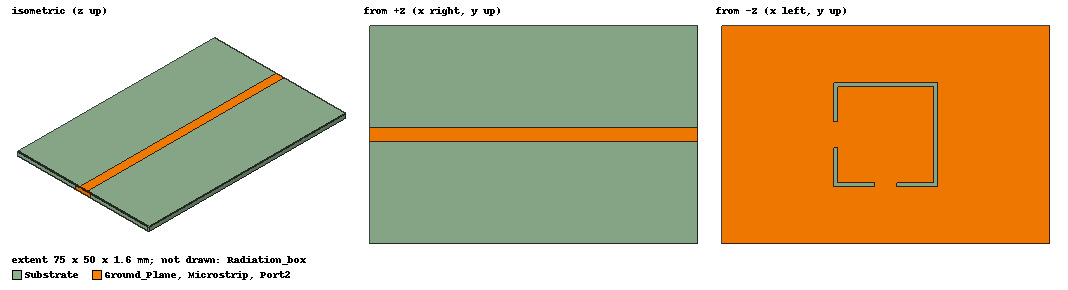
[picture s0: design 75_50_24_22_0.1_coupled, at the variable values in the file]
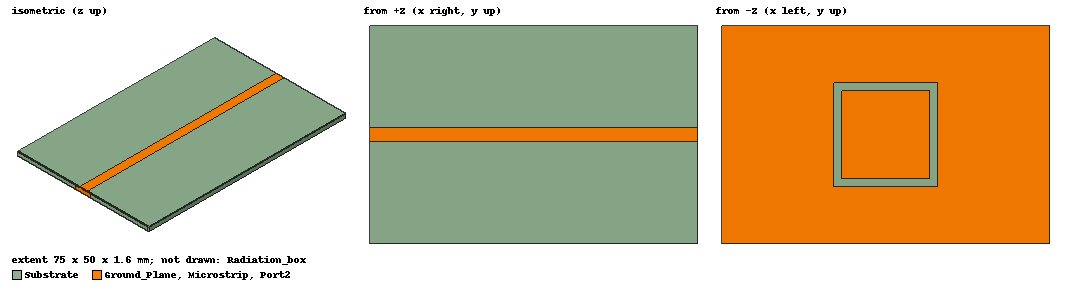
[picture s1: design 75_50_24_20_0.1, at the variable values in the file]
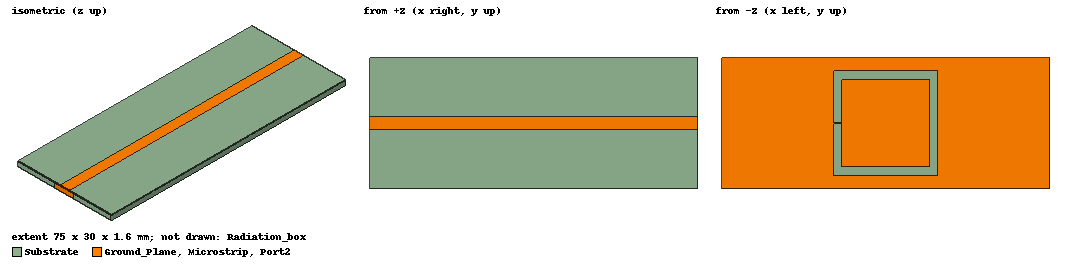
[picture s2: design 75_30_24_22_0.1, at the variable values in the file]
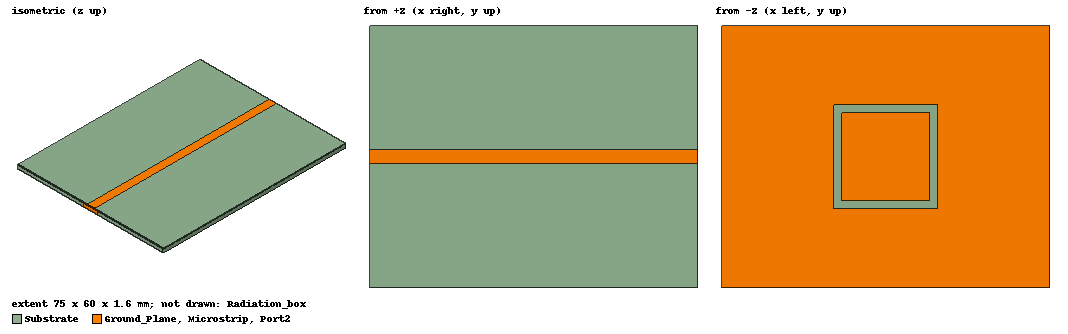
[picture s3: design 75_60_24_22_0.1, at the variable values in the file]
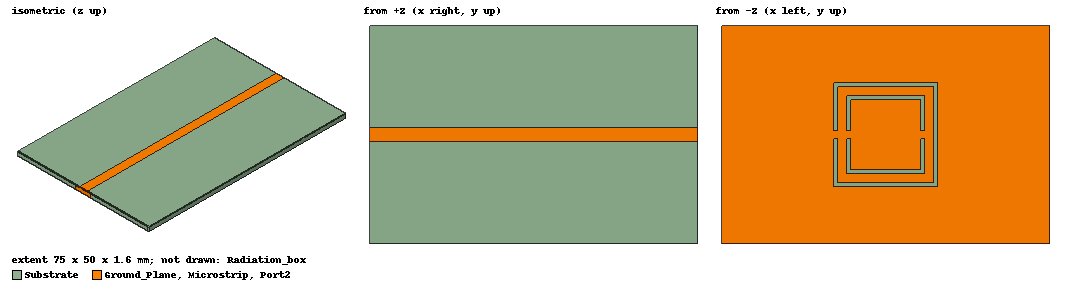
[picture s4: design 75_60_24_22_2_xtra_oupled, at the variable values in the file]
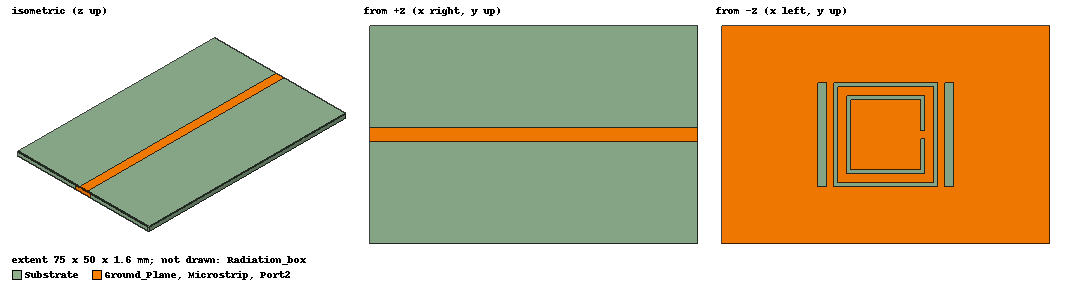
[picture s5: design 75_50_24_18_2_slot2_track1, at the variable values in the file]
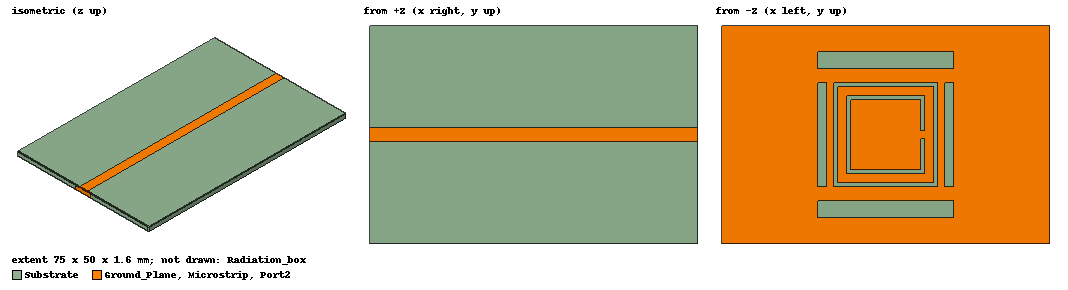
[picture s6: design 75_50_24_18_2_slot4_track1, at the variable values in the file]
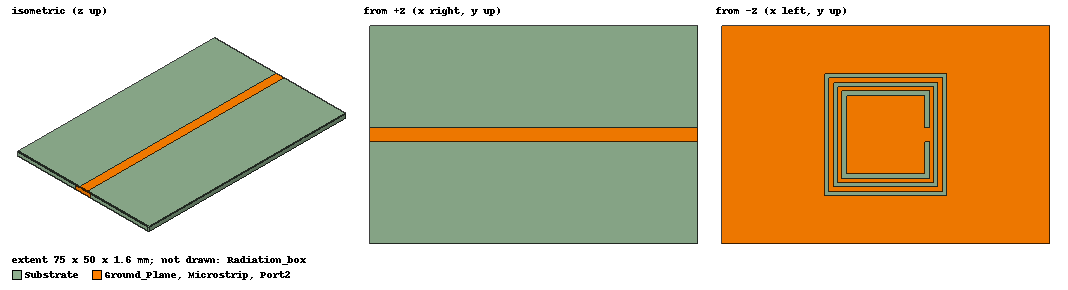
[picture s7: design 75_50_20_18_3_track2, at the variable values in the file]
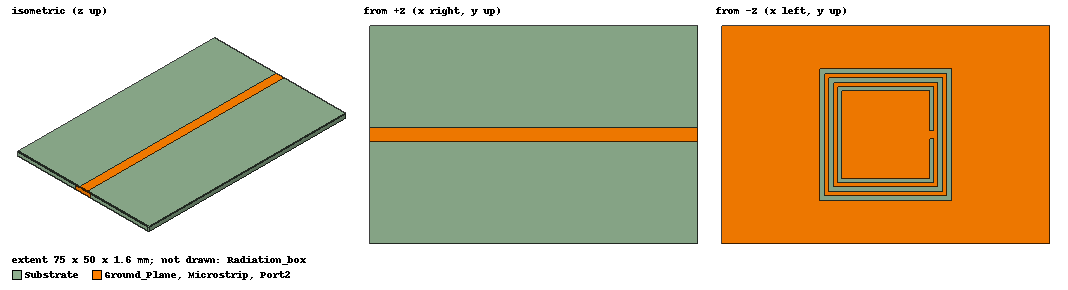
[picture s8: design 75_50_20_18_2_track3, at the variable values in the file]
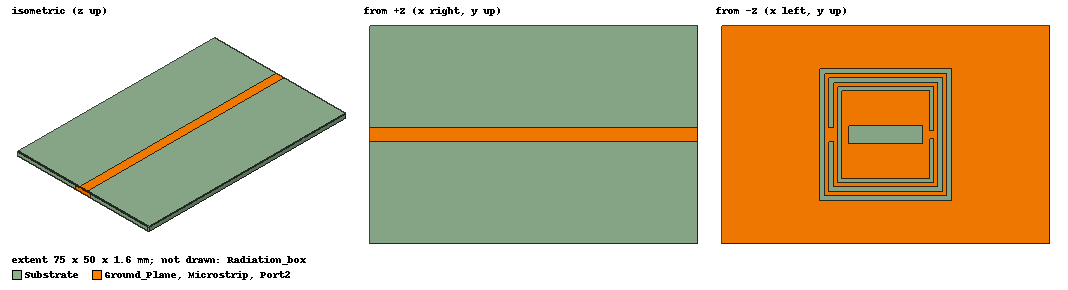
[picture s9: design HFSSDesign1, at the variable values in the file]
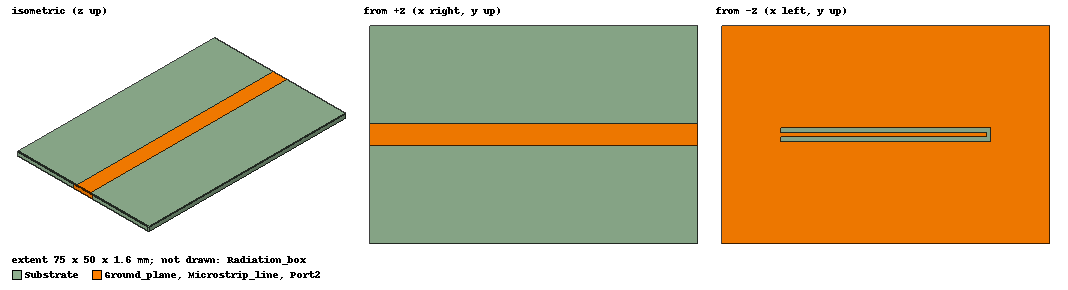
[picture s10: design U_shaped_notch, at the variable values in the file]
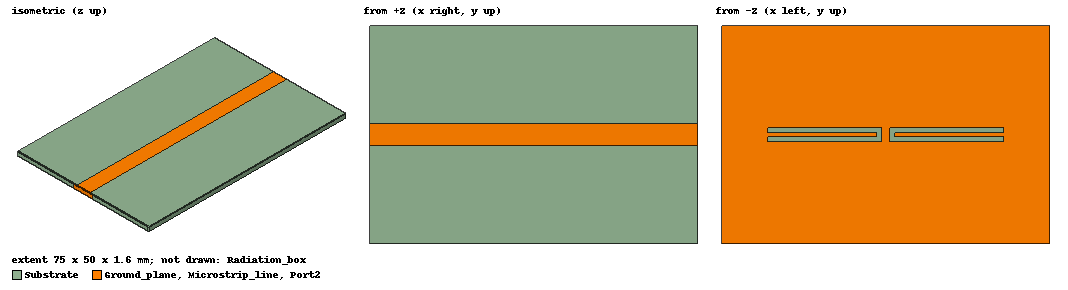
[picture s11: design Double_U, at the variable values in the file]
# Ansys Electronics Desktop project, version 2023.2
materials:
  vacuum: permittivity=1
  FR4_epoxy: permittivity=4.4 dielectric_loss_tangent=0.02
  air: permittivity=1.0006 permeability=1.0000004
  Arlon AR1000 (tm): permittivity=10 dielectric_loss_tangent=0.003
  copper: permeability=0.999991 conductivity=58000000

design 75_50_24_22_0.1_coupled (HFSS, HFSS Terminal Network, model units mm)
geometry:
  Substrate [FR4_epoxy] = box(corner=(0mm, 0mm, 0mm), size=(75mm, 50mm, 1.6mm))
  Ground_Plane = rectangle(corner=(0mm, 50mm, 0mm), x_size=75mm, y_size=-50mm)
  Microstrip = rectangle(corner=(0mm, 26.5mm, 1.6mm), x_size=75mm, y_size=-3mm)
  Port1 = rectangle(corner=(0mm, 28mm, 0mm), y_size=-6mm, z_size=1.6mm)
  Port2 = rectangle(corner=(75mm, 28mm, 1.6mm), y_size=-6mm, z_size=-1.6mm)
  Radiation_box [air] = box(corner=(-8mm, 58mm, -2mm), size=(92mm, -70mm, 20mm))
  Outer_sq = rectangle(corner=(25.5mm, 13mm, 0mm), x_size=24mm, y_size=24mm)
  Inner_sq_1 = rectangle(corner=(26.5mm, 14mm, 0mm), x_size=22mm, y_size=22mm)
  Ground_Plane.subtract(Outer_sq)
  Ground_Plane.unite(Inner_sq_1)
  Rectangle1 = rectangle(corner=(55mm, 22mm, 0mm), x_size=-20mm, y_size=6mm)
  Rectangle2 = rectangle(corner=(40mm, 10mm, 0mm), x_size=-5mm, y_size=10mm)
  Ground_Plane.unite(Rectangle1, Rectangle2)
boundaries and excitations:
  PerfE2: Perfect E Objects=Microstrip
  Rad1: Radiation Objects=Radiation_box
  PerfE3: Perfect E Objects=Ground_Plane
  1: Lumped Port Objects=Port1 LumpedPortType=Modal Modes{Mode1{IntLine{(0, 25, 0) -> (0, 25, 1.6)} CharImp=Zpi RenormImp=50ohm}} Impedance=50ohm
  2: Lumped Port Objects=Port2 LumpedPortType=Modal Modes{Mode1{IntLine{(75, 25, 0) -> (75, 25, 1.6)} CharImp=Zpi}} Impedance=50ohm
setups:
  Setup1: HfssDriven Frequency=1GHz MaxDeltaS=0.02 MaximumPasses=6 MinimumPasses=1 MinimumConvergedPasses=1 PercentRefinement=30 BasisOrder=1 PortAccuracy=2 DrivenSolverType="Direct Solver"
    sweep Sweep: 0.5GHz to 1.5GHz, 401 points; Type=Fast SaveFields
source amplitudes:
  1:1: 1V 0deg
  2:1: 0V 0deg
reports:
  S Parameter Plot 1: dB(S(1,1)), dB(S(2,1)), dB(S(1,2)), dB(S(2,2)) vs Freq on Setup1 : Sweep

design 75_50_24_20_0.1 (HFSS, HFSS Terminal Network, model units mm)
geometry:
  Substrate [FR4_epoxy] = box(corner=(0mm, 0mm, 0mm), size=(75mm, 50mm, 1.6mm))
  Ground_Plane = rectangle(corner=(0mm, 50mm, 0mm), x_size=75mm, y_size=-50mm)
  Outer_sq = rectangle(corner=(25.5mm, 13mm, 0mm), x_size=24mm, y_size=24mm)
  Ground_Plane.subtract(Outer_sq)
  Inner_sq_1 = rectangle(corner=(27.5mm, 15mm, 0mm), x_size=20mm, y_size=20mm)
  Ground_Plane.unite(Inner_sq_1)
  Rectangle1 = rectangle(corner=(55mm, 24.95mm, 0mm), x_size=-10mm, y_size=0.1mm)
  Ground_Plane.unite(Rectangle1)
  Microstrip = rectangle(corner=(0mm, 26.5mm, 1.6mm), x_size=75mm, y_size=-3mm)
  Port1 = rectangle(corner=(0mm, 28mm, 0mm), y_size=-6mm, z_size=1.6mm)
  Port2 = rectangle(corner=(75mm, 28mm, 1.6mm), y_size=-6mm, z_size=-1.6mm)
  Radiation_box [air] = box(corner=(-8mm, 58mm, -2mm), size=(92mm, -70mm, 20mm))
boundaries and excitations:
  PerfE2: Perfect E Objects=Microstrip
  Rad1: Radiation Objects=Radiation_box
  PerfE3: Perfect E Objects=Ground_Plane
  1: Lumped Port Objects=Port1 LumpedPortType=Modal Modes{Mode1{IntLine{(0, 25, 0) -> (0, 25, 1.6)} CharImp=Zpi RenormImp=50ohm}} Impedance=50ohm
  2: Lumped Port Objects=Port2 LumpedPortType=Modal Modes{Mode1{IntLine{(75, 25, 0) -> (75, 25, 1.6)} CharImp=Zpi}} Impedance=50ohm
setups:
  Setup1: HfssDriven Frequency=1GHz MaxDeltaS=0.02 MaximumPasses=6 MinimumPasses=1 MinimumConvergedPasses=1 PercentRefinement=30 BasisOrder=1 PortAccuracy=2 DrivenSolverType="Direct Solver"
    sweep Sweep: 0.5GHz to 1.5GHz, 401 points; Type=Fast SaveFields
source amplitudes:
  1:1: 1V 0deg
  2:1: 0V 0deg
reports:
  S Parameter Plot 1: dB(S(1,1)), dB(S(2,1)), dB(S(1,2)), dB(S(2,2)) vs Freq on Setup1 : Sweep

design 75_30_24_22_0.1 (HFSS, HFSS Terminal Network, model units mm)
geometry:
  Substrate [FR4_epoxy] = box(corner=(0mm, 10mm, 0mm), size=(75mm, 30mm, 1.6mm))
  Ground_Plane = rectangle(corner=(0mm, 40mm, 0mm), x_size=75mm, y_size=-30mm)
  Outer_sq = rectangle(corner=(25.5mm, 13mm, 0mm), x_size=24mm, y_size=24mm)
  Ground_Plane.subtract(Outer_sq)
  Inner_sq_1 = rectangle(corner=(27.5mm, 15mm, 0mm), x_size=20mm, y_size=20mm)
  Ground_Plane.unite(Inner_sq_1)
  Rectangle1 = rectangle(corner=(55mm, 24.95mm, 0mm), x_size=-10mm, y_size=0.1mm)
  Ground_Plane.unite(Rectangle1)
  Microstrip = rectangle(corner=(0mm, 26.5mm, 1.6mm), x_size=75mm, y_size=-3mm)
  Port1 = rectangle(corner=(0mm, 28mm, 0mm), y_size=-6mm, z_size=1.6mm)
  Port2 = rectangle(corner=(75mm, 28mm, 1.6mm), y_size=-6mm, z_size=-1.6mm)
  Radiation_box [air] = box(corner=(-8mm, 58mm, -2mm), size=(92mm, -70mm, 20mm))
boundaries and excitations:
  PerfE2: Perfect E Objects=Microstrip
  Rad1: Radiation Objects=Radiation_box
  PerfE3: Perfect E Objects=Ground_Plane
  1: Lumped Port Objects=Port1 LumpedPortType=Modal Modes{Mode1{IntLine{(0, 25, 0) -> (0, 25, 1.6)} CharImp=Zpi RenormImp=50ohm}} Impedance=50ohm
  2: Lumped Port Objects=Port2 LumpedPortType=Modal Modes{Mode1{IntLine{(75, 25, 0) -> (75, 25, 1.6)} CharImp=Zpi}} Impedance=50ohm
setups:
  Setup1: HfssDriven Frequency=1GHz MaxDeltaS=0.02 MaximumPasses=6 MinimumPasses=1 MinimumConvergedPasses=1 PercentRefinement=30 BasisOrder=1 PortAccuracy=2 DrivenSolverType="Direct Solver"
    sweep Sweep: 0.5GHz to 1.5GHz, 401 points; Type=Fast SaveFields
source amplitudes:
  1:1: 1V 0deg
  2:1: 0V 0deg
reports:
  S Parameter Plot 1: dB(S(1,1)), dB(S(2,1)), dB(S(1,2)), dB(S(2,2)) vs Freq on Setup1 : Sweep

design 75_60_24_22_0.1 (HFSS, HFSS Terminal Network, model units mm)
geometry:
  Substrate [FR4_epoxy] = box(corner=(0mm, -5mm, 0mm), size=(75mm, 60mm, 1.6mm))
  Ground_Plane = rectangle(corner=(0mm, 55mm, 0mm), x_size=75mm, y_size=-60mm)
  Outer_sq = rectangle(corner=(25.5mm, 13mm, 0mm), x_size=24mm, y_size=24mm)
  Ground_Plane.subtract(Outer_sq)
  Inner_sq_1 = rectangle(corner=(27.5mm, 15mm, 0mm), x_size=20mm, y_size=20mm)
  Ground_Plane.unite(Inner_sq_1)
  Rectangle1 = rectangle(corner=(55mm, 24.95mm, 0mm), x_size=-10mm, y_size=0.1mm)
  Ground_Plane.unite(Rectangle1)
  Microstrip = rectangle(corner=(0mm, 26.5mm, 1.6mm), x_size=75mm, y_size=-3mm)
  Port1 = rectangle(corner=(0mm, 28mm, 0mm), y_size=-6mm, z_size=1.6mm)
  Port2 = rectangle(corner=(75mm, 28mm, 1.6mm), y_size=-6mm, z_size=-1.6mm)
  Radiation_box [air] = box(corner=(-8mm, 58mm, -2mm), size=(92mm, -70mm, 20mm))
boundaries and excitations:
  PerfE2: Perfect E Objects=Microstrip
  Rad1: Radiation Objects=Radiation_box
  PerfE3: Perfect E Objects=Ground_Plane
  1: Lumped Port Objects=Port1 LumpedPortType=Modal Modes{Mode1{IntLine{(0, 25, 0) -> (0, 25, 1.6)} CharImp=Zpi RenormImp=50ohm}} Impedance=50ohm
  2: Lumped Port Objects=Port2 LumpedPortType=Modal Modes{Mode1{IntLine{(75, 25, 0) -> (75, 25, 1.6)} CharImp=Zpi}} Impedance=50ohm
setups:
  Setup1: HfssDriven Frequency=1GHz MaxDeltaS=0.02 MaximumPasses=6 MinimumPasses=1 MinimumConvergedPasses=1 PercentRefinement=30 BasisOrder=1 PortAccuracy=2 DrivenSolverType="Direct Solver"
    sweep Sweep: 0.5GHz to 1.5GHz, 401 points; Type=Fast SaveFields
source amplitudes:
  1:1: 1V 0deg
  2:1: 0V 0deg
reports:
  S Parameter Plot 1: dB(S(1,1)), dB(S(2,1)), dB(S(1,2)), dB(S(2,2)) vs Freq on Setup1 : Sweep

design 75_60_24_22_2_xtra_oupled (HFSS, HFSS Terminal Network, model units mm)
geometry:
  Substrate [FR4_epoxy] = box(corner=(0mm, 0mm, 0mm), size=(75mm, 50mm, 1.6mm))
  Ground_Plane = rectangle(corner=(0mm, 50mm, 0mm), x_size=75mm, y_size=-50mm)
  Outer_sq = rectangle(corner=(25.5mm, 13mm, 0mm), x_size=24mm, y_size=24mm)
  Ground_Plane.subtract(Outer_sq)
  Inner_sq_1 = rectangle(corner=(26.5mm, 14mm, 0mm), x_size=22mm, y_size=22mm)
  Ground_Plane.unite(Inner_sq_1)
  Microstrip = rectangle(corner=(0mm, 26.5mm, 1.6mm), x_size=75mm, y_size=-3mm)
  Port1 = rectangle(corner=(0mm, 28mm, 0mm), y_size=-6mm, z_size=1.6mm)
  Port2 = rectangle(corner=(75mm, 28mm, 1.6mm), y_size=-6mm, z_size=-1.6mm)
  Radiation_box [air] = box(corner=(-8mm, 58mm, -2mm), size=(92mm, -70mm, 20mm))
  Rectangle1 = rectangle(corner=(55mm, 24mm, 0mm), x_size=-28mm, y_size=2mm)
  Outer_sq_2 = rectangle(corner=(28.5mm, 16mm, 0mm), x_size=18mm, y_size=18mm)
  Ground_Plane.subtract(Outer_sq_2)
  Inner_sq_2 = rectangle(corner=(29.5mm, 17mm, 0mm), x_size=16mm, y_size=16mm)
  Ground_Plane.unite(Inner_sq_2, Rectangle1)
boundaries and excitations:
  PerfE2: Perfect E Objects=Microstrip
  Rad1: Radiation Objects=Radiation_box
  PerfE3: Perfect E Objects=Ground_Plane
  1: Lumped Port Objects=Port1 LumpedPortType=Modal Modes{Mode1{IntLine{(0, 25, 0) -> (0, 25, 1.6)} CharImp=Zpi RenormImp=50ohm}} Impedance=50ohm
  2: Lumped Port Objects=Port2 LumpedPortType=Modal Modes{Mode1{IntLine{(75, 25, 0) -> (75, 25, 1.6)} CharImp=Zpi}} Impedance=50ohm
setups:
  Setup1: HfssDriven Frequency=1GHz MaxDeltaS=0.02 MaximumPasses=6 MinimumPasses=1 MinimumConvergedPasses=1 PercentRefinement=30 BasisOrder=1 PortAccuracy=2 DrivenSolverType="Direct Solver"
    sweep Sweep: 0.5GHz to 1.5GHz, 401 points; Type=Fast SaveFields
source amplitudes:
  1:1: 1V 0deg
  2:1: 0V 0deg
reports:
  S Parameter Plot 1: dB(S(1,1)), dB(S(2,1)), dB(S(1,2)), dB(S(2,2)) vs Freq on Setup1 : Sweep

design 75_50_24_18_2_slot2_track1 (HFSS, HFSS Terminal Network, model units mm)
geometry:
  Substrate [FR4_epoxy] = box(corner=(0mm, 0mm, 0mm), size=(75mm, 50mm, 1.6mm))
  Ground_Plane = rectangle(corner=(0mm, 50mm, 0mm), x_size=75mm, y_size=-50mm)
  Outer_sq = rectangle(corner=(25.5mm, 13mm, 0mm), x_size=24mm, y_size=24mm)
  Ground_Plane.subtract(Outer_sq)
  Inner_sq_1 = rectangle(corner=(26.5mm, 14mm, 0mm), x_size=22mm, y_size=22mm)
  Ground_Plane.unite(Inner_sq_1)
  Outer_sq_2 = rectangle(corner=(28.5mm, 16mm, 0mm), x_size=18mm, y_size=18mm)
  Ground_Plane.subtract(Outer_sq_2)
  Microstrip = rectangle(corner=(0mm, 26.5mm, 1.6mm), x_size=75mm, y_size=-3mm)
  Port1 = rectangle(corner=(0mm, 28mm, 0mm), y_size=-6mm, z_size=1.6mm)
  Port2 = rectangle(corner=(75mm, 28mm, 1.6mm), y_size=-6mm, z_size=-1.6mm)
  Radiation_box [air] = box(corner=(-8mm, 58mm, -2mm), size=(92mm, -70mm, 20mm))
  Inner_sq_2 = rectangle(corner=(29.5mm, 17mm, 0mm), x_size=16mm, y_size=16mm)
  Rectangle1 = rectangle(corner=(38mm, 26mm, 0mm), x_size=5mm, y_size=-2mm)
  Rectangle2 = rectangle(corner=(38mm, 24mm, 0mm), x_size=-10mm, y_size=2mm)
  Ground_Plane.unite(Inner_sq_2, Rectangle1, Rectangle2)
  Rectangle3 = rectangle(corner=(51mm, 13mm, 0mm), x_size=2mm, y_size=24mm)
  Rectangle4 = rectangle(corner=(24mm, 13mm, 0mm), x_size=-2mm, y_size=24mm)
  Ground_Plane.subtract(Rectangle3, Rectangle4)
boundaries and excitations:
  PerfE2: Perfect E Objects=Microstrip
  Rad1: Radiation Objects=Radiation_box
  PerfE3: Perfect E Objects=Ground_Plane
  1: Lumped Port Objects=Port1 LumpedPortType=Modal Modes{Mode1{IntLine{(0, 25, 0) -> (0, 25, 1.6)} CharImp=Zpi RenormImp=50ohm}} Impedance=50ohm
  2: Lumped Port Objects=Port2 LumpedPortType=Modal Modes{Mode1{IntLine{(75, 25, 0) -> (75, 25, 1.6)} CharImp=Zpi}} Impedance=50ohm
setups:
  Setup1: HfssDriven Frequency=1GHz MaxDeltaS=0.02 MaximumPasses=6 MinimumPasses=1 MinimumConvergedPasses=1 PercentRefinement=30 BasisOrder=1 PortAccuracy=2 DrivenSolverType="Direct Solver"
    sweep Sweep: 0.5GHz to 1.5GHz, 401 points; Type=Fast SaveFields
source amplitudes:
  1:1: 1V 0deg
  2:1: 0V 0deg
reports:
  S Parameter Plot 1: dB(S(1,1)), dB(S(2,1)), dB(S(1,2)), dB(S(2,2)) vs Freq on Setup1 : Sweep

design 75_50_24_18_2_slot4_track1 (HFSS, HFSS Terminal Network, model units mm)
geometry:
  Substrate [FR4_epoxy] = box(corner=(0mm, 0mm, 0mm), size=(75mm, 50mm, 1.6mm))
  Ground_Plane = rectangle(corner=(0mm, 50mm, 0mm), x_size=75mm, y_size=-50mm)
  Outer_sq = rectangle(corner=(25.5mm, 13mm, 0mm), x_size=24mm, y_size=24mm)
  Ground_Plane.subtract(Outer_sq)
  Inner_sq_1 = rectangle(corner=(26.5mm, 14mm, 0mm), x_size=22mm, y_size=22mm)
  Ground_Plane.unite(Inner_sq_1)
  Outer_sq_2 = rectangle(corner=(28.5mm, 16mm, 0mm), x_size=18mm, y_size=18mm)
  Ground_Plane.subtract(Outer_sq_2)
  Inner_sq_2 = rectangle(corner=(29.5mm, 17mm, 0mm), x_size=16mm, y_size=16mm)
  Rectangle1 = rectangle(corner=(38mm, 26mm, 0mm), x_size=5mm, y_size=-2mm)
  Rectangle2 = rectangle(corner=(38mm, 24mm, 0mm), x_size=-10mm, y_size=2mm)
  Ground_Plane.unite(Inner_sq_2, Rectangle1, Rectangle2)
  Rectangle3 = rectangle(corner=(51mm, 13mm, 0mm), x_size=2mm, y_size=24mm)
  Rectangle4 = rectangle(corner=(24mm, 13mm, 0mm), x_size=-2mm, y_size=24mm)
  Ground_Plane.subtract(Rectangle3, Rectangle4)
  Microstrip = rectangle(corner=(0mm, 26.5mm, 1.6mm), x_size=75mm, y_size=-3mm)
  Port1 = rectangle(corner=(0mm, 28mm, 0mm), y_size=-6mm, z_size=1.6mm)
  Port2 = rectangle(corner=(75mm, 28mm, 1.6mm), y_size=-6mm, z_size=-1.6mm)
  Radiation_box [air] = box(corner=(-8mm, 58mm, -2mm), size=(92mm, -70mm, 20mm))
  Rectangle5 = rectangle(corner=(22mm, 40mm, 0mm), x_size=31mm, y_size=4mm)
  Rectangle6 = rectangle(corner=(22mm, 10mm, 0mm), x_size=31mm, y_size=-4mm)
  Ground_Plane.subtract(Rectangle5, Rectangle6)
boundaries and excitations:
  PerfE2: Perfect E Objects=Microstrip
  Rad1: Radiation Objects=Radiation_box
  PerfE3: Perfect E Objects=Ground_Plane
  1: Lumped Port Objects=Port1 LumpedPortType=Modal Modes{Mode1{IntLine{(0, 25, 0) -> (0, 25, 1.6)} CharImp=Zpi RenormImp=50ohm}} Impedance=50ohm
  2: Lumped Port Objects=Port2 LumpedPortType=Modal Modes{Mode1{IntLine{(75, 25, 0) -> (75, 25, 1.6)} CharImp=Zpi}} Impedance=50ohm
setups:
  Setup1: HfssDriven Frequency=1GHz MaxDeltaS=0.02 MaximumPasses=6 MinimumPasses=1 MinimumConvergedPasses=1 PercentRefinement=30 BasisOrder=1 PortAccuracy=2 DrivenSolverType="Direct Solver"
    sweep Sweep: 0.5GHz to 1.5GHz, 401 points; Type=Fast SaveFields
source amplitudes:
  1:1: 1V 0deg
  2:1: 0V 0deg
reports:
  S Parameter Plot 1: dB(S(1,1)), dB(S(2,1)), dB(S(1,2)), dB(S(2,2)) vs Freq on Setup1 : Sweep

design 75_50_20_18_3_track2 (HFSS, HFSS Terminal Network, model units mm)
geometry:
  Substrate [FR4_epoxy] = box(corner=(0mm, 0mm, 0mm), size=(75mm, 50mm, 1.6mm))
  Ground_Plane = rectangle(corner=(0mm, 50mm, 0mm), x_size=75mm, y_size=-50mm)
  Microstrip = rectangle(corner=(0mm, 26.5mm, 1.6mm), x_size=75mm, y_size=-3mm)
  Port1 = rectangle(corner=(0mm, 28mm, 0mm), y_size=-6mm, z_size=1.6mm)
  Port2 = rectangle(corner=(75mm, 28mm, 1.6mm), y_size=-6mm, z_size=-1.6mm)
  Radiation_box [air] = box(corner=(-8mm, 58mm, -2mm), size=(92mm, -70mm, 20mm))
  Outer_sq = rectangle(corner=(25.5mm, 13mm, 0mm), x_size=24mm, y_size=24mm)
  Outer_sq_2 = rectangle(corner=(27.5mm, 15mm, 0mm), x_size=20mm, y_size=20mm)
  Inner_sq_2 = rectangle(corner=(28.5mm, 16mm, 0mm), x_size=18mm, y_size=18mm)
  Outer_sq_3 = rectangle(corner=(23.5mm, 11mm, 0mm), x_size=28mm, y_size=28mm)
  Inner_sq_3 = rectangle(corner=(26.5mm, 14mm, 0mm), x_size=22mm, y_size=22mm)
  Ground_Plane.subtract(Outer_sq_3)
  Inner_sq_4 = rectangle(corner=(24.5mm, 12mm, 0mm), x_size=26mm, y_size=26mm)
  Inner_sq_4.subtract(Outer_sq)
  Inner_sq_3.subtract(Outer_sq_2)
  Bridge = rectangle(corner=(28.5mm, 23.5mm, 0mm), x_size=-1mm, y_size=3mm)
  Ground_Plane.unite(Inner_sq_4, Inner_sq_3, Inner_sq_2, Bridge)
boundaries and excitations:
  PerfE2: Perfect E Objects=Microstrip
  Rad1: Radiation Objects=Radiation_box
  PerfE3: Perfect E Objects=Ground_Plane
  1: Lumped Port Objects=Port1 LumpedPortType=Modal Modes{Mode1{IntLine{(0, 25, 0) -> (0, 25, 1.6)} CharImp=Zpi RenormImp=50ohm}} Impedance=50ohm
  2: Lumped Port Objects=Port2 LumpedPortType=Modal Modes{Mode1{IntLine{(75, 25, 0) -> (75, 25, 1.6)} CharImp=Zpi}} Impedance=50ohm
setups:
  Setup1: HfssDriven Frequency=1GHz MaxDeltaS=0.02 MaximumPasses=6 MinimumPasses=1 MinimumConvergedPasses=1 PercentRefinement=30 BasisOrder=1 PortAccuracy=2 DrivenSolverType="Direct Solver"
    sweep Sweep: 0.5GHz to 1.5GHz, 401 points; Type=Fast SaveFields
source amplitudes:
  1:1: 1V 0deg
  2:1: 0V 0deg
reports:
  S Parameter Plot 1: dB(S(1,1)), dB(S(2,1)), dB(S(1,2)), dB(S(2,2)) vs Freq on Setup1 : Sweep

design 75_50_20_18_2_track3 (HFSS, HFSS Terminal Network, model units mm)
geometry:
  Substrate [FR4_epoxy] = box(corner=(0mm, 0mm, 0mm), size=(75mm, 50mm, 1.6mm))
  Ground_Plane = rectangle(corner=(0mm, 50mm, 0mm), x_size=75mm, y_size=-50mm)
  Outer_sq_3 = rectangle(corner=(22.5mm, 10mm, 0mm), x_size=30mm, y_size=30mm)
  Ground_Plane.subtract(Outer_sq_3)
  Microstrip = rectangle(corner=(0mm, 26.5mm, 1.6mm), x_size=75mm, y_size=-3mm)
  Port1 = rectangle(corner=(0mm, 28mm, 0mm), y_size=-6mm, z_size=1.6mm)
  Port2 = rectangle(corner=(75mm, 28mm, 1.6mm), y_size=-6mm, z_size=-1.6mm)
  Radiation_box [air] = box(corner=(-8mm, 58mm, -2mm), size=(92mm, -70mm, 20mm))
  Outer_sq = rectangle(corner=(24.5mm, 12mm, 0mm), x_size=26mm, y_size=26mm)
  Outer_sq_2 = rectangle(corner=(26.5mm, 14mm, 0mm), x_size=22mm, y_size=22mm)
  Inner_sq_2 = rectangle(corner=(27.5mm, 15mm, 0mm), x_size=20mm, y_size=20mm)
  Inner_sq_3 = rectangle(corner=(25.5mm, 13mm, 0mm), x_size=24mm, y_size=24mm)
  Inner_sq_3.subtract(Outer_sq_2)
  Inner_sq_4 = rectangle(corner=(23.5mm, 11mm, 0mm), x_size=28mm, y_size=28mm)
  Inner_sq_4.subtract(Outer_sq)
  Bridge = rectangle(corner=(27.5mm, 24mm, 0mm), x_size=-1mm, y_size=2mm)
  Ground_Plane.unite(Bridge, Inner_sq_2, Inner_sq_3, Inner_sq_4)
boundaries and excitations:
  PerfE2: Perfect E Objects=Microstrip
  Rad1: Radiation Objects=Radiation_box
  PerfE3: Perfect E Objects=Ground_Plane
  1: Lumped Port Objects=Port1 LumpedPortType=Modal Modes{Mode1{IntLine{(0, 25, 0) -> (0, 25, 1.6)} CharImp=Zpi RenormImp=50ohm}} Impedance=50ohm
  2: Lumped Port Objects=Port2 LumpedPortType=Modal Modes{Mode1{IntLine{(75, 25, 0) -> (75, 25, 1.6)} CharImp=Zpi}} Impedance=50ohm
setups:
  Setup1: HfssDriven Frequency=1GHz MaxDeltaS=0.02 MaximumPasses=6 MinimumPasses=1 MinimumConvergedPasses=1 PercentRefinement=30 BasisOrder=1 PortAccuracy=2 DrivenSolverType="Direct Solver"
    sweep Sweep: 0.5GHz to 1.5GHz, 401 points; Type=Fast SaveFields
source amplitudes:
  1:1: 1V 0deg
  2:1: 0V 0deg
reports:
  S Parameter Plot 1: dB(S(1,1)), dB(S(2,1)), dB(S(1,2)), dB(S(2,2)) vs Freq on Setup1 : Sweep

design HFSSDesign1 (HFSS, HFSS Terminal Network, model units mm)
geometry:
  Substrate [FR4_epoxy] = box(corner=(0mm, 0mm, 0mm), size=(75mm, 50mm, 1.6mm))
  Ground_Plane = rectangle(corner=(0mm, 50mm, 0mm), x_size=75mm, y_size=-50mm)
  Outer_sq_3 = rectangle(corner=(22.5mm, 10mm, 0mm), x_size=30mm, y_size=30mm)
  Ground_Plane.subtract(Outer_sq_3)
  Bridge = rectangle(corner=(27.5mm, 24mm, 0mm), x_size=-1mm, y_size=2mm)
  Inner_sq_2 = rectangle(corner=(27.5mm, 15mm, 0mm), x_size=20mm, y_size=20mm)
  Inner_sq_3 = rectangle(corner=(25.5mm, 13mm, 0mm), x_size=24mm, y_size=24mm)
  Outer_sq_2 = rectangle(corner=(26.5mm, 14mm, 0mm), x_size=22mm, y_size=22mm)
  Inner_sq_3.subtract(Outer_sq_2)
  Inner_sq_4 = rectangle(corner=(23.5mm, 11mm, 0mm), x_size=28mm, y_size=28mm)
  Outer_sq = rectangle(corner=(24.5mm, 12mm, 0mm), x_size=26mm, y_size=26mm)
  Inner_sq_4.subtract(Outer_sq)
  Ground_Plane.unite(Bridge, Inner_sq_2, Inner_sq_3, Inner_sq_4)
  Microstrip = rectangle(corner=(0mm, 26.5mm, 1.6mm), x_size=75mm, y_size=-3mm)
  Port1 = rectangle(corner=(0mm, 28mm, 0mm), y_size=-6mm, z_size=1.6mm)
  Port2 = rectangle(corner=(75mm, 28mm, 1.6mm), y_size=-6mm, z_size=-1.6mm)
  Radiation_box [air] = box(corner=(-8mm, 58mm, -2mm), size=(92mm, -70mm, 20mm))
  Rectangle1 = rectangle(corner=(49.5mm, 23.5mm, 0mm), x_size=1mm, y_size=3mm)
  Ground_Plane.unite(Rectangle1)
  Rectangle2 = rectangle(corner=(46mm, 23mm, 0mm), x_size=-17mm, y_size=4mm)
  Ground_Plane.subtract(Rectangle2)
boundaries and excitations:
  PerfE2: Perfect E Objects=Microstrip
  Rad1: Radiation Objects=Radiation_box
  PerfE3: Perfect E Objects=Ground_Plane
  1: Lumped Port Objects=Port1 LumpedPortType=Modal Modes{Mode1{IntLine{(0, 25, 0) -> (0, 25, 1.6)} CharImp=Zpi RenormImp=50ohm}} Impedance=50ohm
  2: Lumped Port Objects=Port2 LumpedPortType=Modal Modes{Mode1{IntLine{(75, 25, 0) -> (75, 25, 1.6)} CharImp=Zpi}} Impedance=50ohm
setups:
  Setup1: HfssDriven Frequency=1GHz MaxDeltaS=0.02 MaximumPasses=6 MinimumPasses=1 MinimumConvergedPasses=1 PercentRefinement=30 BasisOrder=1 PortAccuracy=2 DrivenSolverType="Direct Solver"
    sweep Sweep: 0.5GHz to 1.5GHz, 401 points; Type=Fast SaveFields
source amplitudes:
  1:1: 1V 0deg
  2:1: 0V 0deg
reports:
  S Parameter Plot 1: dB(S(1,1)), dB(S(2,1)), dB(S(1,2)), dB(S(2,2)) vs Freq on Setup1 : Sweep

design U_shaped_notch (HFSS, HFSS Terminal Network, model units mm)
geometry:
  Substrate [FR4_epoxy] = box(corner=(0mm, 0mm, 0mm), size=(75mm, 50mm, 1.6mm))
  Microstrip_line = rectangle(corner=(0mm, 22.4mm, 1.6mm), x_size=75mm, y_size=5.2mm)
  Etch = rectangle(corner=(13.5mm, 23.5mm, 0mm), x_size=48mm, y_size=1mm)
  Rectangle2 = rectangle(corner=(13.5mm, 25.5mm, 0mm), x_size=48mm, y_size=1mm)
  Rectangle3 = rectangle(corner=(13.5mm, 23.5mm, 0mm), x_size=1mm, y_size=3mm)
  Etch.unite(Rectangle2, Rectangle3)
  Ground_plane = rectangle(corner=(0mm, 50mm, 0mm), x_size=75mm, y_size=-50mm)
  Ground_plane.subtract(Etch)
  Port1 = rectangle(corner=(0mm, 21.5mm, 1.6mm), y_size=7mm, z_size=-1.6mm)
  Port2 = rectangle(corner=(75mm, 21.5mm, 1.6mm), y_size=7mm, z_size=-1.6mm)
  Radiation_box [air] = box(corner=(80mm, 60mm, -2mm), size=(-88mm, -68mm, 10mm))
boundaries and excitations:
  PerfE1: Perfect E Objects=Microstrip_line
  PerfE2: Perfect E Objects=Ground_plane
  Rad1: Radiation Objects=Radiation_box
  1: Lumped Port Objects=Port1 LumpedPortType=Modal Modes{Mode1{IntLine{(0, 25, 0) -> (0, 25, 1.6)} CharImp=Zpi RenormImp=50ohm}} Impedance=50ohm
  2: Lumped Port Objects=Port2 LumpedPortType=Modal Modes{Mode1{IntLine{(75, 25, 0) -> (75, 25, 1.6)} CharImp=Zpi RenormImp=50ohm}} Impedance=50ohm
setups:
  Setup1: HfssDriven Frequency=1GHz MaxDeltaS=0.02 MaximumPasses=6 MinimumPasses=1 MinimumConvergedPasses=1 PercentRefinement=30 BasisOrder=1 PortAccuracy=2 DrivenSolverType="Direct Solver"
    sweep Sweep: 0.1GHz to 2.5GHz, 801 points; Type=Fast SaveFields
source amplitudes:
  1:1: 1V 0deg
  2:1: 0V 0deg
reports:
  S Parameter Plot 1: dB(S(1,1)), dB(S(2,1)), dB(S(1,2)), dB(S(2,2)) vs Freq on Setup1 : Sweep

design Double_U (HFSS, HFSS Terminal Network, model units mm)
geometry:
  Substrate [FR4_epoxy] = box(corner=(0mm, 0mm, 0mm), size=(75mm, 50mm, 1.6mm))
  Microstrip_line = rectangle(corner=(0mm, 22.5mm, 1.6mm), x_size=75mm, y_size=5mm)
  Ground_plane = rectangle(corner=(0mm, 50mm, 0mm), x_size=75mm, y_size=-50mm)
  Port1 = rectangle(corner=(0mm, 21.5mm, 1.6mm), y_size=7mm, z_size=-1.6mm)
  Port2 = rectangle(corner=(75mm, 21.5mm, 1.6mm), y_size=7mm, z_size=-1.6mm)
  Radiation_box [air] = box(corner=(80mm, 60mm, -2mm), size=(-88mm, -68mm, 10mm))
  Rectangle1 = rectangle(corner=(36.5mm, 23.5mm, 0mm), x_size=-26mm, y_size=1mm)
  Rectangle2 = rectangle(corner=(36.5mm, 25.5mm, 0mm), x_size=-26mm, y_size=1mm)
  Rectangle3 = rectangle(corner=(38.5mm, 23.5mm, 0mm), x_size=26mm, y_size=1mm)
  Rectangle4 = rectangle(corner=(38.5mm, 25.5mm, 0mm), x_size=26mm, y_size=1mm)
  Rectangle5 = rectangle(corner=(38.5mm, 23.5mm, 0mm), x_size=1mm, y_size=3mm)
  Rectangle6 = rectangle(corner=(36.5mm, 23.5mm, 0mm), x_size=-1mm, y_size=3mm)
  Ground_plane.subtract(Rectangle1..Rectangle6)
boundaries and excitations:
  PerfE1: Perfect E Objects=Microstrip_line
  PerfE2: Perfect E Objects=Ground_plane
  Rad1: Radiation Objects=Radiation_box
  1: Lumped Port Objects=Port1 LumpedPortType=Modal Modes{Mode1{IntLine{(0, 25, 0) -> (0, 25, 1.6)} CharImp=Zpi RenormImp=50ohm}} Impedance=50ohm
  2: Lumped Port Objects=Port2 LumpedPortType=Modal Modes{Mode1{IntLine{(75, 25, 0) -> (75, 25, 1.6)} CharImp=Zpi RenormImp=50ohm}} Impedance=50ohm
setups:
  Setup1: HfssDriven Frequency=1GHz MaxDeltaS=0.02 MaximumPasses=6 MinimumPasses=1 MinimumConvergedPasses=1 PercentRefinement=30 BasisOrder=1 PortAccuracy=2 DrivenSolverType="Direct Solver"
    sweep Sweep: 0.5GHz to 3.5GHz, 801 points; Type=Fast SaveFields
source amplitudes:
  1:1: 1V 0deg
  2:1: 0V 0deg
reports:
  S Parameter Plot 1: dB(S(1,1)), dB(S(2,1)), dB(S(1,2)), dB(S(2,2)) vs Freq on Setup1 : Sweep

design H_design (HFSS, HFSS Terminal Network, model units mm)
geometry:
  Substrate [FR4_epoxy] = box(corner=(0mm, 0mm, 0mm), size=(75mm, 50mm, 1.6mm))
  Microstrip_line = rectangle(corner=(0mm, 22.5mm, 1.6mm), x_size=75mm, y_size=5mm)
  Ground_plane = rectangle(corner=(0mm, 50mm, 0mm), x_size=75mm, y_size=-50mm)
  Port1 = rectangle(corner=(0mm, 21.5mm, 1.6mm), y_size=7mm, z_size=-1.6mm)
  Port2 = rectangle(corner=(75mm, 21.5mm, 1.6mm), y_size=7mm, z_size=-1.6mm)
  Radiation_box [air] = box(corner=(80mm, 60mm, -2mm), size=(-88mm, -68mm, 10mm))
  Rectangle1 = rectangle(corner=(37.5mm, 23.5mm, 0mm), x_size=-26mm, y_size=1mm)
  Rectangle2 = rectangle(corner=(37.5mm, 25.5mm, 0mm), x_size=-26mm, y_size=1mm)
  Rectangle3 = rectangle(corner=(37.5mm, 23.5mm, 0mm), x_size=26mm, y_size=1mm)
  Rectangle4 = rectangle(corner=(37.5mm, 25.5mm, 0mm), x_size=26mm, y_size=1mm)
  Rectangle5 = rectangle(corner=(37.5mm, 23.5mm, 0mm), x_size=1mm, y_size=3mm)
  Rectangle1.unite(Rectangle2..Rectangle5)
  Ground_plane.subtract(Rectangle1)
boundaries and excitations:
  PerfE1: Perfect E Objects=Microstrip_line
  PerfE2: Perfect E Objects=Ground_plane
  Rad1: Radiation Objects=Radiation_box
  1: Lumped Port Objects=Port1 LumpedPortType=Modal Modes{Mode1{IntLine{(0, 25, 0) -> (0, 25, 1.6)} CharImp=Zpi RenormImp=50ohm}} Impedance=50ohm
  2: Lumped Port Objects=Port2 LumpedPortType=Modal Modes{Mode1{IntLine{(75, 25, 0) -> (75, 25, 1.6)} CharImp=Zpi RenormImp=50ohm}} Impedance=50ohm
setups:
  Setup1: HfssDriven Frequency=1GHz MaxDeltaS=0.02 MaximumPasses=6 MinimumPasses=1 MinimumConvergedPasses=1 PercentRefinement=30 BasisOrder=1 PortAccuracy=2 DrivenSolverType="Direct Solver"
    sweep Sweep: 0.5GHz to 3.5GHz, 801 points; Type=Fast SaveFields
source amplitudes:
  1:1: 1V 0deg
  2:1: 0V 0deg
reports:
  S Parameter Plot 1: dB(S(1,1)), dB(S(2,1)), dB(S(1,2)), dB(S(2,2)) vs Freq on Setup1 : Sweep

design Symmetric_U (HFSS, HFSS Terminal Network, model units mm)
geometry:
  Substrate [FR4_epoxy] = box(corner=(0mm, 0mm, 0mm), size=(75mm, 50mm, 1.6mm))
  Microstrip_line = rectangle(corner=(0mm, 22.4mm, 1.6mm), x_size=75mm, y_size=5.2mm)
  Ground_plane = rectangle(corner=(0mm, 50mm, 0mm), x_size=75mm, y_size=-50mm)
  Etch = rectangle(corner=(13.5mm, 21.7mm, 0mm), x_size=46mm, y_size=1mm)
  Rectangle2 = rectangle(corner=(13.5mm, 23.7mm, 0mm), x_size=46mm, y_size=1mm)
  Rectangle3 = rectangle(corner=(13.5mm, 21.7mm, 0mm), x_size=1mm, y_size=3mm)
  Etch.unite(Rectangle2, Rectangle3)
  Ground_plane.subtract(Etch)
  Port1 = rectangle(corner=(0mm, 21.5mm, 1.6mm), y_size=7mm, z_size=-1.6mm)
  Port2 = rectangle(corner=(75mm, 21.5mm, 1.6mm), y_size=7mm, z_size=-1.6mm)
  Radiation_box [air] = box(corner=(80mm, 60mm, -2mm), size=(-88mm, -68mm, 10mm))
  Etch1 = rectangle(corner=(13.5mm, 25.3mm, 0mm), x_size=46mm, y_size=1mm)
  Rectangle6 = rectangle(corner=(13.5mm, 27.3mm, 0mm), x_size=46mm, y_size=1mm)
  Rectangle7 = rectangle(corner=(13.5mm, 25.3mm, 0mm), x_size=1mm, y_size=3mm)
  Ground_plane.subtract(Etch1, Rectangle6, Rectangle7)
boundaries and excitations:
  PerfE1: Perfect E Objects=Microstrip_line
  PerfE2: Perfect E Objects=Ground_plane
  Rad1: Radiation Objects=Radiation_box
  1: Lumped Port Objects=Port1 LumpedPortType=Modal Modes{Mode1{IntLine{(0, 25, 0) -> (0, 25, 1.6)} CharImp=Zpi RenormImp=50ohm}} Impedance=50ohm
  2: Lumped Port Objects=Port2 LumpedPortType=Modal Modes{Mode1{IntLine{(75, 25, 0) -> (75, 25, 1.6)} CharImp=Zpi RenormImp=50ohm}} Impedance=50ohm
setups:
  Setup1: HfssDriven Frequency=1GHz MaxDeltaS=0.02 MaximumPasses=6 MinimumPasses=1 MinimumConvergedPasses=1 PercentRefinement=30 BasisOrder=1 PortAccuracy=2 DrivenSolverType="Direct Solver"
    sweep Sweep: 0.3GHz to 2GHz, 601 points; Type=Fast SaveFields
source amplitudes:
  1:1: 1V 0deg
  2:1: 0V 0deg
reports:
  S Parameter Plot 1: dB(S(1,1)), dB(S(2,1)), dB(S(1,2)), dB(S(2,2)) vs Freq on Setup1 : Sweep; markers m1 at 0.71933333GHz, m2 at 0.96866667GHz, m3 at 0.99133333GHz, m4 at 1.0111667GHz, m5 at 1.2576667GHz

design Symmetric_U_2 (HFSS, HFSS Terminal Network, model units mm)
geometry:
  Substrate [FR4_epoxy] = box(corner=(0mm, 0mm, 0mm), size=(75mm, 50mm, 1.6mm))
  Microstrip_line = rectangle(corner=(0mm, 22.4mm, 1.6mm), x_size=75mm, y_size=5.2mm)
  Ground_plane = rectangle(corner=(0mm, 50mm, 0mm), x_size=75mm, y_size=-50mm)
  Etch = rectangle(corner=(13.5mm, 21.6mm, 0mm), x_size=48mm, y_size=1mm)
  Rectangle2 = rectangle(corner=(13.5mm, 23.6mm, 0mm), x_size=48mm, y_size=1mm)
  Rectangle3 = rectangle(corner=(13.5mm, 21.6mm, 0mm), x_size=1mm, y_size=3mm)
  Etch.unite(Rectangle2, Rectangle3)
  Ground_plane.subtract(Etch)
  Etch1 = rectangle(corner=(13.5mm, 25.6mm, 0mm), x_size=48mm, y_size=1mm)
  Rectangle6 = rectangle(corner=(13.5mm, 27.6mm, 0mm), x_size=48mm, y_size=1mm)
  Rectangle7 = rectangle(corner=(13.5mm, 25.6mm, 0mm), x_size=1mm, y_size=3mm)
  Ground_plane.subtract(Etch1, Rectangle6, Rectangle7)
  Port1 = rectangle(corner=(0mm, 21.5mm, 1.6mm), y_size=7mm, z_size=-1.6mm)
  Port2 = rectangle(corner=(75mm, 21.5mm, 1.6mm), y_size=7mm, z_size=-1.6mm)
  Radiation_box [air] = box(corner=(80mm, 60mm, -2mm), size=(-88mm, -68mm, 10mm))
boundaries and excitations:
  PerfE1: Perfect E Objects=Microstrip_line
  PerfE2: Perfect E Objects=Ground_plane
  Rad1: Radiation Objects=Radiation_box
  1: Lumped Port Objects=Port1 LumpedPortType=Modal Modes{Mode1{IntLine{(0, 25, 0) -> (0, 25, 1.6)} CharImp=Zpi RenormImp=50ohm}} Impedance=50ohm
  2: Lumped Port Objects=Port2 LumpedPortType=Modal Modes{Mode1{IntLine{(75, 25, 0) -> (75, 25, 1.6)} CharImp=Zpi RenormImp=50ohm}} Impedance=50ohm
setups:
  Setup1: HfssDriven Frequency=1GHz MaxDeltaS=0.02 MaximumPasses=6 MinimumPasses=1 MinimumConvergedPasses=1 PercentRefinement=30 BasisOrder=1 PortAccuracy=2 DrivenSolverType="Direct Solver"
    sweep Sweep: 0.1GHz to 2GHz, 601 points; Type=Fast SaveFields
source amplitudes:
  1:1: 1V 0deg
  2:1: 0V 0deg
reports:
  S Parameter Plot 1: dB(S(1,1)), dB(S(2,1)), dB(S(1,2)), dB(S(2,2)) vs Freq on Setup1 : Sweep
